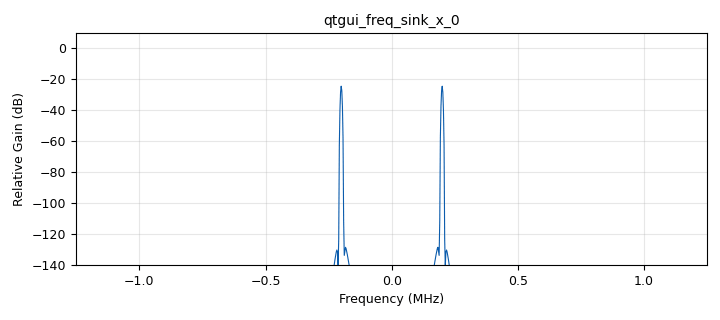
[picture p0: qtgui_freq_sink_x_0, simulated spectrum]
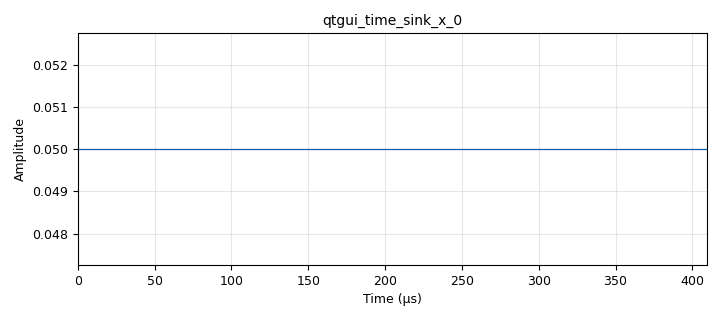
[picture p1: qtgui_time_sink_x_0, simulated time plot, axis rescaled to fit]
options:
  parameters:
    author: Max Duverneuil
    generate_options: qt_gui
    id: CRTRaster
    output_language: python
    title: CRTlikeRaster
  states: {}

blocks:
- name: samp_rate
  id: variable
  parameters:
    value: '2500000'
  states: {}
- name: analog_const_source_x_0
  id: analog_const_source_x
  parameters:
    const: '0'
    type: float
  states: {}
- name: analog_sig_source_x_0
  id: analog_sig_source_x
  parameters:
    amp: '1.0'
    freq: 200e3
    offset: '0'
    phase: '0'
    samp_rate: samp_rate
    type: float
    waveform: analog.GR_COS_WAVE
  states: {}
- name: blocks_add_const_vxx_0
  id: blocks_add_const_vxx
  parameters:
    const: '0.3'
    type: float
  states: {}
- name: blocks_file_sink_0
  id: blocks_file_sink
  parameters:
    file: C:\Users\maxfd\OneDrive\Documents\IST_815\Project_Vandal\CRT_Raster_Raw_IQ
    type: complex
  states: {}
- name: blocks_float_to_complex_0
  id: blocks_float_to_complex
  parameters: {}
  states: {}
- name: blocks_multiply_const_vxx_0
  id: blocks_multiply_const_vxx
  parameters:
    const: '0.7'
    type: float
  states: {}
- name: blocks_multiply_xx_0
  id: blocks_multiply_xx
  parameters:
    type: float
  states: {}
- name: epy_block_0
  id: epy_block
  parameters:
    _source_code: |
      import numpy as np
      from gnuradio import gr

      class blk(gr.sync_block):
          """Raster pattern generator block"""

          def __init__(self):
              gr.sync_block.__init__(
                  self,
                  name='CRT Raster Generator',
                  in_sig=[],
                  out_sig=[np.float32]
              )

              # Parameters
              self.samp_rate = 2_500_000
              self.samples_per_line = 4096
              self.sync_len = 128
              self.blank_len = 128
              self.lines_per_frame = 256
              self.pattern = 'lfm'
              self.active_amp = 1.0
              self.sync_level = -0.6
              self.blank_level = 0.05
              self.lfm_f0 = 50_000
              self.lfm_f1 = 500_000
              self.gamma = 1.0

              self.line_idx = 0
              self.sample_idx_in_line = 0
              self.n_active = self.samples_per_line - self.sync_len - self.blank_len
              self.active_lfm, self.active_bars, self.active_grad = self.make_templates()

          def make_templates(self):
              t = np.arange(self.n_active) / self.samp_rate
              k = (self.lfm_f1 - self.lfm_f0) / (self.n_active / self.samp_rate)
              phase = 2 * np.pi * (self.lfm_f0 * t + 0.5 * k * t**2)
              lfm = np.sin(phase)
              bars = np.sign(np.sin(2 * np.pi * 8 * np.arange(self.n_active) / self.n_active))
              grad = np.linspace(0, 1, self.n_active)**self.gamma
              active_lfm = self.active_amp * (0.5 * lfm + 0.5 * grad)
              active_bars = self.active_amp * bars
              active_grad = self.active_amp * grad
              return active_lfm.astype(np.float32), active_bars.astype(np.float32), active_grad.astype(np.float32)

          def get_active(self, line_i):
              if self.pattern == 'lfm':
                  return self.active_lfm
              elif self.pattern == 'bars':
                  return self.active_bars
              elif self.pattern == 'grad':
                  return self.active_grad
              else:
                  return self.active_grad

          def work(self, input_items, output_items):
              out = output_items[0]
              noutput_items = len(out)
              filled = 0

              while filled < noutput_items:
                  rem_in_line = self.samples_per_line - self.sample_idx_in_line
                  n = min(noutput_items - filled, rem_in_line)
                  s = self.sample_idx_in_line
                  e = s + n

                  if e <= self.sync_len:
                      seg = np.full(n, self.sync_level, dtype=np.float32)
                  elif s < self.sync_len and e > self.sync_len:
                      a = self.sync_len - s
                      b = n - a
                      seg = np.concatenate([
                          np.full(a, self.sync_level, dtype=np.float32),
                          np.full(b, self.blank_level, dtype=np.float32)
                      ])
                  elif e <= (self.sync_len + self.blank_len):
                      seg = np.full(n, self.blank_level, dtype=np.float32)
                  elif s < (self.sync_len + self.blank_len) and e > (self.sync_len + self.blank_len):
                      a = (self.sync_len + self.blank_len) - s
                      b = n - a
                      active = self.get_active(self.line_idx)
                      seg = np.concatenate([
                          np.full(a, self.blank_level, dtype=np.float32),
                          active[:b]
                      ])
                  else:
                      start_active = s - (self.sync_len + self.blank_len)
                      active = self.get_active(self.line_idx)
                      seg = active[start_active:start_active + n]

                  out[filled:filled + n] = seg
                  filled += n
                  self.sample_idx_in_line += n

                  if self.sample_idx_in_line >= self.samples_per_line:
                      self.sample_idx_in_line = 0
                      self.line_idx = (self.line_idx + 1) % self.lines_per_frame

              return len(out)
  states: {}
- name: iio_pluto_sink_0
  id: iio_pluto_sink
  parameters:
    attenuation1: '-10'
    bandwidth: '20000000'
    buffer_size: '32768'
    cyclic: 'False'
    filter_source: '''Auto'''
    frequency: '915000000'
    samplerate: samp_rate
    type: fc32
  states: {}
- name: qtgui_freq_sink_x_0
  id: qtgui_freq_sink_x
  parameters:
    bw: samp_rate
    fc: '0'
    fftsize: '1024'
    type: complex
  states: {}
- name: qtgui_time_sink_x_0
  id: qtgui_time_sink_x
  parameters:
    size: '1024'
    srate: samp_rate
    type: float
  states: {}

connections:
- [analog_const_source_x_0, '0', blocks_float_to_complex_0, '1']
- [analog_sig_source_x_0, '0', blocks_multiply_xx_0, '1']
- [blocks_add_const_vxx_0, '0', blocks_multiply_xx_0, '0']
- [blocks_float_to_complex_0, '0', blocks_file_sink_0, '0']
- [blocks_float_to_complex_0, '0', iio_pluto_sink_0, '0']
- [blocks_float_to_complex_0, '0', qtgui_freq_sink_x_0, '0']
- [blocks_multiply_const_vxx_0, '0', blocks_add_const_vxx_0, '0']
- [blocks_multiply_xx_0, '0', blocks_float_to_complex_0, '0']
- [epy_block_0, '0', blocks_multiply_const_vxx_0, '0']
- [epy_block_0, '0', qtgui_time_sink_x_0, '0']

metadata:
  file_format: 1
  grc_version: 3.10.12.0
